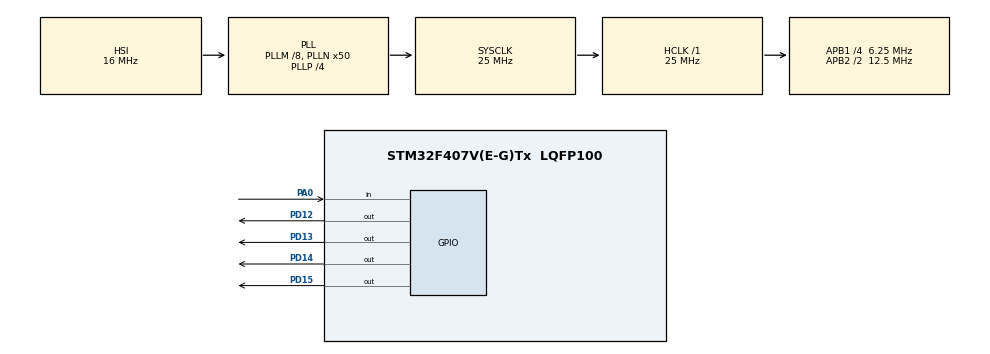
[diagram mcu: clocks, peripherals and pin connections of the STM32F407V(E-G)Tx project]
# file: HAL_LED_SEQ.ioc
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Mcu.Family=STM32F4
Mcu.Name=STM32F407V(E-G)Tx
Mcu.Package=LQFP100
NVIC.PriorityGroup=NVIC_PRIORITYGROUP_0
PA0-WKUP.Signal=GPIO_Input
PD12.Signal=GPIO_Output
PD13.Signal=GPIO_Output
PD14.Signal=GPIO_Output
PD15.Signal=GPIO_Output
ProjectManager.HeapSize=0x200
ProjectManager.StackSize=0x400
ProjectManager.TargetToolchain=STM32CubeIDE
RCC.48MHZClocksFreq_Value=14285714.285714285
RCC.AHBFreq_Value=25000000
RCC.APB1CLKDivider=RCC_HCLK_DIV4
RCC.APB1Freq_Value=6250000
RCC.APB1TimFreq_Value=12500000
RCC.APB2CLKDivider=RCC_HCLK_DIV2
RCC.APB2Freq_Value=12500000
RCC.APB2TimFreq_Value=25000000
RCC.CortexFreq_Value=25000000
RCC.HCLKFreq_Value=25000000
RCC.HSE_VALUE=8000000
RCC.HSI_VALUE=16000000
RCC.LSE_VALUE=32768
RCC.PLLM=8
RCC.PLLN=50
RCC.PLLP=RCC_PLLP_DIV4
RCC.PLLQ=7
RCC.SYSCLKFreq_VALUE=25000000
RCC.SYSCLKSource=RCC_SYSCLKSOURCE_PLLCLK
RCC.VCOOutputFreq_Value=100000000
board=STM32F407G-DISC1

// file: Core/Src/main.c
/* USER CODE BEGIN Header */
/**
  ******************************************************************************
  * @file           : main.c
  * @brief          : Main program body
  ******************************************************************************
  * @attention
  *
  * Copyright (c) 2025 STMicroelectronics.
  * All rights reserved.
  *
  * This software is licensed under terms that can be found in the LICENSE file
  * in the root directory of this software component.
  * If no LICENSE file comes with this software, it is provided AS-IS.
  *
  ******************************************************************************
  */
/* USER CODE END Header */
#include "main.h"

uint8_t state=0;
uint8_t p_state=0;
uint8_t c_state;

void SystemClock_Config(void);
static void MX_GPIO_Init(void);

int main(void)
{

  /* MCU Configuration--------------------------------------------------------*/

  /* Reset of all peripherals, Initializes the Flash interface and the Systick. */
  HAL_Init();

  /* Configure the system clock */
  SystemClock_Config();

  /* Initialize all configured peripherals */
  MX_GPIO_Init();

  /* Infinite loop */
  /* USER CODE BEGIN WHILE */
  while (1)
  {
    c_state=HAL_GPIO_ReadPin(GPIOA, GPIO_PIN_0);
    if(c_state && !p_state){
    	state++;
    	if(state>3){
    		state=1;
    	}
    	if(state == 1){
    		HAL_GPIO_WritePin(GPIOD, GPIO_PIN_12,SET);
    		HAL_GPIO_WritePin(GPIOD, GPIO_PIN_15, RESET);
    		HAL_Delay(200);
    	}
    	if(state == 2){
    	    		HAL_GPIO_WritePin(GPIOD, GPIO_PIN_12,SET);
    	    		HAL_GPIO_WritePin(GPIOD, GPIO_PIN_15, SET);
    	    		HAL_Delay(200);
    	    	}
    	if(state == 3){
    	    		HAL_GPIO_WritePin(GPIOD, GPIO_PIN_12, RESET);
    	    		HAL_GPIO_WritePin(GPIOD, GPIO_PIN_15, RESET);
    	    		HAL_Delay(200);
    	    	}

    	/* USER CODE END WHILE */
    }

  }
}

void SystemClock_Config(void)
{
  RCC_OscInitTypeDef RCC_OscInitStruct = {0};
  RCC_ClkInitTypeDef RCC_ClkInitStruct = {0};

  /** Configure the main internal regulator output voltage
  */
  __HAL_RCC_PWR_CLK_ENABLE();
  __HAL_PWR_VOLTAGESCALING_CONFIG(PWR_REGULATOR_VOLTAGE_SCALE1);

  /** Initializes the RCC Oscillators according to the specified parameters
  * in the RCC_OscInitTypeDef structure.
  */
  RCC_OscInitStruct.OscillatorType = RCC_OSCILLATORTYPE_HSI;
  RCC_OscInitStruct.HSIState = RCC_HSI_ON;
  RCC_OscInitStruct.HSICalibrationValue = RCC_HSICALIBRATION_DEFAULT;
  RCC_OscInitStruct.PLL.PLLState = RCC_PLL_ON;
  RCC_OscInitStruct.PLL.PLLSource = RCC_PLLSOURCE_HSI;
  RCC_OscInitStruct.PLL.PLLM = 8;
  RCC_OscInitStruct.PLL.PLLN = 50;
  RCC_OscInitStruct.PLL.PLLP = RCC_PLLP_DIV4;
  RCC_OscInitStruct.PLL.PLLQ = 7;
  if (HAL_RCC_OscConfig(&RCC_OscInitStruct) != HAL_OK)
  {
    Error_Handler();
  }

  /** Initializes the CPU, AHB and APB buses clocks
  */
  RCC_ClkInitStruct.ClockType = RCC_CLOCKTYPE_HCLK|RCC_CLOCKTYPE_SYSCLK
                              |RCC_CLOCKTYPE_PCLK1|RCC_CLOCKTYPE_PCLK2;
  RCC_ClkInitStruct.SYSCLKSource = RCC_SYSCLKSOURCE_PLLCLK;
  RCC_ClkInitStruct.AHBCLKDivider = RCC_SYSCLK_DIV1;
  RCC_ClkInitStruct.APB1CLKDivider = RCC_HCLK_DIV4;
  RCC_ClkInitStruct.APB2CLKDivider = RCC_HCLK_DIV2;

  if (HAL_RCC_ClockConfig(&RCC_ClkInitStruct, FLASH_LATENCY_0) != HAL_OK)
  {
    Error_Handler();
  }
}

static void MX_GPIO_Init(void)
{
  GPIO_InitTypeDef GPIO_InitStruct = {0};

  /* GPIO Ports Clock Enable */
  __HAL_RCC_GPIOA_CLK_ENABLE();
  __HAL_RCC_GPIOD_CLK_ENABLE();

  /*Configure GPIO pin Output Level */
  HAL_GPIO_WritePin(GPIOD, GPIO_PIN_12|GPIO_PIN_13|GPIO_PIN_14|GPIO_PIN_15, GPIO_PIN_RESET);

  /*Configure GPIO pin : PA0 */
  GPIO_InitStruct.Pin = GPIO_PIN_0;
  GPIO_InitStruct.Mode = GPIO_MODE_INPUT;
  GPIO_InitStruct.Pull = GPIO_NOPULL;
  HAL_GPIO_Init(GPIOA, &GPIO_InitStruct);

  /*Configure GPIO pins : PD12 PD13 PD14 PD15 */
  GPIO_InitStruct.Pin = GPIO_PIN_12|GPIO_PIN_13|GPIO_PIN_14|GPIO_PIN_15;
  GPIO_InitStruct.Mode = GPIO_MODE_OUTPUT_PP;
  GPIO_InitStruct.Pull = GPIO_NOPULL;
  GPIO_InitStruct.Speed = GPIO_SPEED_FREQ_LOW;
  HAL_GPIO_Init(GPIOD, &GPIO_InitStruct);

}

void Error_Handler(void)
{
  __disable_irq();
  while (1)
  {
  }
}
